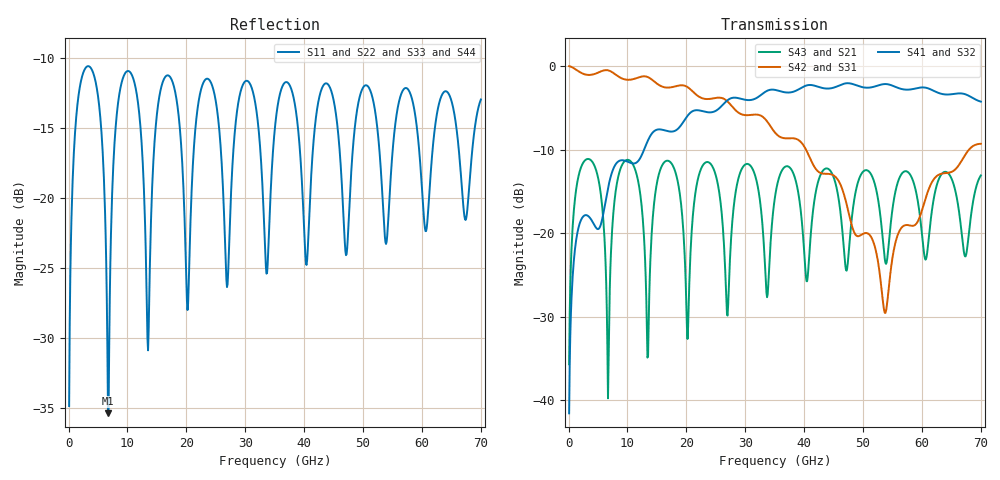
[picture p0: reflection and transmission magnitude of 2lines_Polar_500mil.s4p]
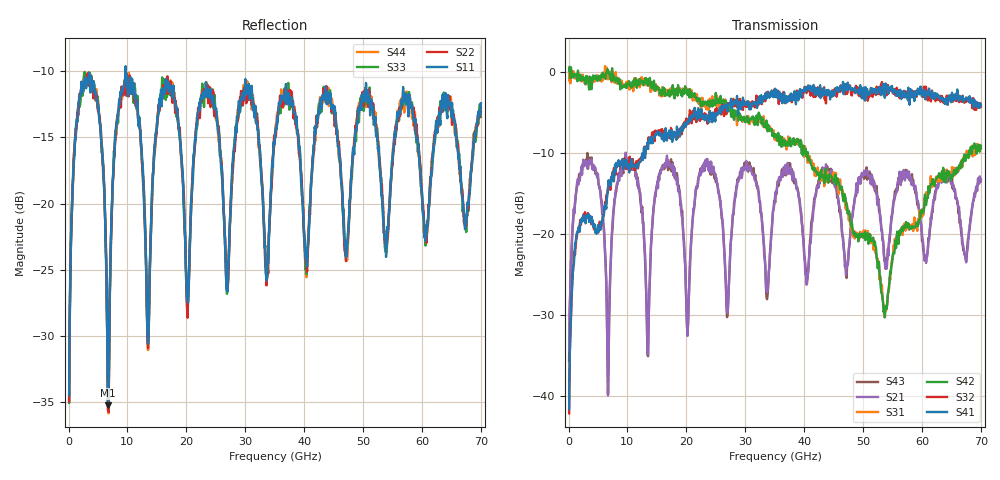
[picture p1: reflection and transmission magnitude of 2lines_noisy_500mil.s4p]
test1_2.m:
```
%% Basic Information
%%% Overview
% Transmission-line parameters extractor
% MATLAB implementation of Patent US8892414B1
% Author Name: Guorui Wei
% Created in: 2020-06-04 00:35
% Example: Edge-Coupled Surface Microstrip 

clc; clear; close all;

%% Import data

% Import simulated data
lineLength = 0.0127; % Line Length(meters)
filename_2line = 'data/2line/2lines_Polar_500mil.s4p';
SingleEnded4PortData = read(rfdata.data,filename_2line);
freq = SingleEnded4PortData.Freq;
freqPts = length(freq);
z0 = SingleEnded4PortData.Z0; % Reference Impedance
numOfLines = size(SingleEnded4PortData.S_Parameters,1)/2;
SingleEnded4PortData.S_Parameters = snp2smp(SingleEnded4PortData.S_Parameters,...
    z0,1:1:2*numOfLines); % Classic style
s_original = SingleEnded4PortData.S_Parameters;

%% Add noise to original S-params

% initialize the random number generator to make the results  repeatable.
rng(0,'twister');

noise_mean = 1;   % mean
noise_std = 0.05; % standard deviation
noise_cof_real = noise_std .* randn(size(s_original)) + noise_mean;
noise_cof_imag = noise_std .* randn(size(s_original)) + noise_mean;
s_noisy = real(s_original) .* noise_cof_real                            ...
        + 1i * imag(s_original) .* noise_cof_imag;
rfwrite(sparameters(s_noisy,freq,z0),'data/2line/2lines_noisy_500mil.s4p');

%%% Load PowerSI extracted noisy-RLGC
% Allocate memory
rlgc_noisy_PowerSI.R = zeros(numOfLines,numOfLines,freqPts);
rlgc_noisy_PowerSI.L = rlgc_noisy_PowerSI.R;
rlgc_noisy_PowerSI.C = rlgc_noisy_PowerSI.R;
rlgc_noisy_PowerSI.G = rlgc_noisy_PowerSI.R;
% Load data
filename_PowerSI = 'data/2line/Transmission_RLGC_noisy.csv';
opts = detectImportOptions(filename_PowerSI);
rlgc_PowerSI_mat = readtable(filename_PowerSI);
for freqIdx = 1:freqPts
    for i = 1:numOfLines
        for j = i:numOfLines
            rlgc_noisy_PowerSI.R(i,j,freqIdx) = rlgc_PowerSI_mat{4*freqIdx-3,(2*numOfLines+2-i)*(i-1)/2+j-i+3}/lineLength;
            rlgc_noisy_PowerSI.L(i,j,freqIdx) = rlgc_PowerSI_mat{4*freqIdx-2,(2*numOfLines+2-i)*(i-1)/2+j-i+3}/lineLength;
            rlgc_noisy_PowerSI.G(i,j,freqIdx) = rlgc_PowerSI_mat{4*freqIdx-1,(2*numOfLines+2-i)*(i-1)/2+j-i+3}/lineLength;
            rlgc_noisy_PowerSI.C(i,j,freqIdx) = rlgc_PowerSI_mat{4*freqIdx-0,(2*numOfLines+2-i)*(i-1)/2+j-i+3}/lineLength;
        end
    end
    % RLGC是对称阵
    for i = 1:numOfLines
        for j = i+1:numOfLines
            rlgc_noisy_PowerSI.R(j,i,freqIdx) = rlgc_noisy_PowerSI.R(i,j,freqIdx);
            rlgc_noisy_PowerSI.L(j,i,freqIdx) = rlgc_noisy_PowerSI.L(i,j,freqIdx);
            rlgc_noisy_PowerSI.G(j,i,freqIdx) = rlgc_noisy_PowerSI.G(i,j,freqIdx);
            rlgc_noisy_PowerSI.C(j,i,freqIdx) = rlgc_noisy_PowerSI.C(i,j,freqIdx);
        end
    end
end

%% Extract RLGC params using proposed method

rlgc_original = s2rlgc_t(s_original,lineLength,freq,z0,[],false);
rlgc_noisy = s2rlgc_t(s_noisy,lineLength,freq,z0,[],false);

%%% Check

% 1. rlgc_noisy -> s_extracted_rlgc -> rlgc'
check_consistence(rlgc_noisy.R, rlgc_noisy.L, rlgc_noisy.G, rlgc_noisy.C, lineLength, freq, z0);
% 2. s_extracted_rlgc -> rlgc' -> s'
[s_extracted_rlgc,~] = rlgc2s_t(rlgc_noisy.R,rlgc_noisy.L,rlgc_noisy.G,rlgc_noisy.C,lineLength,freq,z0);
rlgc_reextract = s2rlgc_t(s_extracted_rlgc,lineLength,freq,z0,[],true);

%% Figure

%% Comparison between noisy-S (dB) and original-S

% external<-external
figure('Name','noisy-S (dB): See') 
sgtitle({'Comparison Between noisy-S and original-S: See'})
num_of_columes = ceil(numOfLines/2);
for idx = 1:numOfLines
    subplot(2,num_of_columes,idx)
    plot(freq/1e9,db(squeeze(s_noisy(1,idx,:)),'voltage'),'k-')
    hold on
    plot(freq/1e9,db(squeeze(s_original(1,idx,:)),'voltage'),'g--')
    hold off
    grid on
    xlabel('Freq(GHz)');
    ylabel(sprintf('S(1,%u)(dB)',idx));
    title(sprintf('S(1,%u)',idx));
    legend({'noisy','original'},'Location','best','NumColumns',1)
    legend('boxoff')
end

% external<-internal
figure('Name','noisy-S (dB): Sei')
sgtitle({'Comparison Between noisy-S and original-S: Sei'})
num_of_columes = ceil(numOfLines/2);
for idx = 1:numOfLines
    subplot(2,num_of_columes,idx)
    plot(freq/1e9,db(squeeze(s_noisy(1,idx+numOfLines,:)),'voltage'),'k-')
    hold on
    plot(freq/1e9,db(squeeze(s_original(1,idx+numOfLines,:)), 'voltage'),'g--')
    hold off
    grid on
    xlabel('Freq(GHz)');
    ylabel(sprintf('S(1,%u)(dB)',idx+numOfLines));
    title(sprintf('S(1,%u)',idx+numOfLines));
    legend({'noisy','original'},'Location','best','NumColumns',1)
    legend('boxoff')
end

% internal<-external
figure('Name','noisy-S (dB): Sie') 
sgtitle({'Comparison Between noisy-S and original-S: Sie'})
num_of_columes = ceil(numOfLines/2);
for idx = 1:numOfLines
    subplot(2,num_of_columes,idx)
    plot(freq/1e9,db(squeeze(s_noisy(numOfLines+1,idx,:)),'voltage'),'k-')
    hold on
    plot(freq/1e9,db(squeeze(s_original(numOfLines+1,idx,:)),'voltage'),'g--')
    hold off
    grid on
    xlabel('Freq(GHz)');
    ylabel(sprintf('S(%u,%u)(dB)',numOfLines+1,idx));
    title(sprintf('S(%u,%u)',numOfLines+1,idx));
    legend({'noisy','original'},'Location','best','NumColumns',1)
    legend('boxoff')
end

% internal<-internal
figure('Name','noisy-S (dB): Sii') 
sgtitle({'Comparison Between noisy-S and original-S: Sii'})
num_of_columes = ceil(numOfLines/2);
for idx = 1:numOfLines
    subplot(2,num_of_columes,idx)
    plot(freq/1e9,db(squeeze(s_noisy(numOfLines+1,numOfLines+idx,:)),'voltage'),'k-')
    hold on
    plot(freq/1e9,db(squeeze(s_original(numOfLines+1,numOfLines+idx,:)),'voltage'),'g--')
    hold off
    grid on
    xlabel('Freq(GHz)');
    ylabel(sprintf('S(%u,%u)(dB)',numOfLines+1,numOfLines+idx));
    title(sprintf('S(%u,%u)',numOfLines+1,numOfLines+idx));
    legend({'noisy','original'},'Location','best','NumColumns',1)
    legend('boxoff')
end

%% Comparison between noisy-S (phase) and original-S

% external<-external
figure('Name','noisy-S (phase): See') 
sgtitle({'Comparison Between noisy-S and original-S: See'})
num_of_columes = ceil(numOfLines/2);
for idx = 1:numOfLines
    subplot(2,num_of_columes,idx)
    plot(freq/1e9,angle(squeeze(s_noisy(1,idx,:))),'k-')
    hold on
    plot(freq/1e9,angle(squeeze(s_original(1,idx,:))),'g--')
    hold off
    grid on
    xlabel('Freq(GHz)');
    ylabel(sprintf('S(1,%u) (rad)',idx));
    title(sprintf('S(1,%u)',idx));
    legend({'noisy','original'},'Location','best','NumColumns',1)
    legend('boxoff')
end

% external<-internal
figure('Name','noisy-S (phase): Sei')
sgtitle({'Comparison Between noisy-S and original-S: Sei'})
num_of_columes = ceil(numOfLines/2);
for idx = 1:numOfLines
    subplot(2,num_of_columes,idx)
    plot(freq/1e9,angle(squeeze(s_noisy(1,idx+numOfLines,:))),'k-')
    hold on
    plot(freq/1e9,angle(squeeze(s_original(1,idx+numOfLines,:))),'g--')
    hold off
    grid on
    xlabel('Freq(GHz)');
    ylabel(sprintf('S(1,%u) (rad)',idx+numOfLines));
    title(sprintf('S(1,%u)',idx+numOfLines));
    legend({'noisy','original'},'Location','best','NumColumns',1)
    legend('boxoff')
end

% internal<-external
figure('Name','noisy-S (phase): Sie') 
sgtitle({'Comparison Between noisy-S and original-S: Sie'})
num_of_columes = ceil(numOfLines/2);
for idx = 1:numOfLines
    subplot(2,num_of_columes,idx)
    plot(freq/1e9,angle(squeeze(s_noisy(numOfLines+1,idx,:))),'k-')
    hold on
    plot(freq/1e9,angle(squeeze(s_original(numOfLines+1,idx,:))),'g--')
    hold off
    grid on
    xlabel('Freq(GHz)');
    ylabel(sprintf('S(%u,%u) (rad)',numOfLines+1,idx));
    title(sprintf('S(%u,%u)',numOfLines+1,idx));
    legend({'noisy','original'},'Location','best','NumColumns',1)
    legend('boxoff')
end

% internal<-internal
figure('Name','noisy-S (phase): Sii') 
sgtitle({'Comparison Between noisy-S and original-S: Sii'})
num_of_columes = ceil(numOfLines/2);
for idx = 1:numOfLines
    subplot(2,num_of_columes,idx)
    plot(freq/1e9,angle(squeeze(s_noisy(numOfLines+1,numOfLines+idx,:))),'k-')
    hold on
    plot(freq/1e9,angle(squeeze(s_original(numOfLines+1,numOfLines+idx,:))),'g--')
    hold off
    grid on
    xlabel('Freq(GHz)');
    ylabel(sprintf('S(%u,%u) (rad)',numOfLines+1,numOfLines+idx));
    title(sprintf('S(%u,%u)',numOfLines+1,numOfLines+idx));
    legend({'noisy','original'},'Location','best','NumColumns',1)
    legend('boxoff')
end

%% Reconstruct noisy S using powerSI-noisy RLGC
% 结论：与原始S参数高度一致。用重建S参数再提取RLGC，此RLGC可以准确恢复重建S参数。
% 说明PowerSI是对原始S参数作了前处理

[s_rlgc_noisy_PowerSI,~] = rlgc2s_t(rlgc_noisy_PowerSI.R,rlgc_noisy_PowerSI.L,rlgc_noisy_PowerSI.G,rlgc_noisy_PowerSI.C,lineLength,freq,z0);
% external<-external
figure('Name','Rebuilt S (using PowerSI-RLGC): See') 
sgtitle({'Comparison Between Calculated S-parameters using';'PowerSI-RLGC and Original S-parameters: See'})
num_of_columes = ceil(numOfLines/2);
for idx = 1:numOfLines
    subplot(2,num_of_columes,idx)
    plot(freq/1e9,db(squeeze(s_rlgc_noisy_PowerSI(1,idx,:)),'voltage'),'k-')
    hold on
    plot(freq/1e9,db(squeeze(s_noisy(1,idx,:)),'voltage'),'g--')
    hold off
    grid on
    xlabel('Freq(GHz)');
    ylabel(sprintf('S1%u(Ohms/m)',idx));
    title(sprintf('S1%u',idx));
    legend({'PowerSI-RLGC','Original S-parameters'},'Location','best','NumColumns',1)
    legend('boxoff')
end

% external<-internal
figure('Name','Rebuilt S (using PowerSI-RLGC): Sei')
sgtitle({'Comparison Between Calculated S-parameters using';'PowerSI-RLGC and Original S-parameters: Sei'})
num_of_columes = ceil(numOfLines/2);
for idx = 1:numOfLines
    subplot(2,num_of_columes,idx)
    plot(freq/1e9,db(squeeze(s_rlgc_noisy_PowerSI(1,idx+numOfLines,:)),'voltage'),'k-')
    hold on
    plot(freq/1e9,db(squeeze(s_noisy(1,idx+numOfLines,:)), 'voltage'),'g--')
    hold off
    grid on
    xlabel('Freq(GHz)');
    ylabel(sprintf('S1%u(dB)',idx+numOfLines));
    title(sprintf('S1%u',idx+numOfLines));
    legend({'PowerSI-RLGC','Original S-parameters'},'Location','best','NumColumns',1)
    legend('boxoff')
end

% internal<-external
figure('Name','Rebuilt S (using PowerSI-RLGC): Sie') 
sgtitle({'Comparison Between Calculated S-parameters using';'PowerSI-RLGC and Original S-parameters: Sie'})
num_of_columes = ceil(numOfLines/2);
for idx = 1:numOfLines
    subplot(2,num_of_columes,idx)
    plot(freq/1e9,db(squeeze(s_rlgc_noisy_PowerSI(numOfLines+1,idx,:)),'voltage'),'k-')
    hold on
    plot(freq/1e9,db(squeeze(s_noisy(numOfLines+1,idx,:)),'voltage'),'g--')
    hold off
    grid on
    xlabel('Freq(GHz)');
    ylabel(sprintf('S%u%u(Ohms/m)',numOfLines+1,idx));
    title(sprintf('S%u%u',numOfLines+1,idx));
    legend({'PowerSI-RLGC','Original S-parameters'},'Location','best','NumColumns',1)
    legend('boxoff')
end

% internal<-internal
figure('Name','Rebuilt S (using PowerSI-RLGC): Sii') 
sgtitle({'Comparison Between Calculated S-parameters using';'PowerSI-RLGC and Original S-parameters: Sii'})
num_of_columes = ceil(numOfLines/2);
for idx = 1:numOfLines
    subplot(2,num_of_columes,idx)
    plot(freq/1e9,db(squeeze(s_rlgc_noisy_PowerSI(numOfLines+1,numOfLines+idx,:)),'voltage'),'k-')
    hold on
    plot(freq/1e9,db(squeeze(s_noisy(numOfLines+1,numOfLines+idx,:)),'voltage'),'g--')
    hold off
    grid on
    xlabel('Freq(GHz)');
    ylabel(sprintf('S%u%u(Ohms/m)',numOfLines+1,numOfLines+idx));
    title(sprintf('S%u%u',numOfLines+1,numOfLines+idx));
    legend({'PowerSI-RLGC','Original S-parameters'},'Location','best','NumColumns',1)
    legend('boxoff')
end
```
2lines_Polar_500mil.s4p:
! www.PolarInstruments.com
! File Export V10.11 [9.03]
! For hxji@mail.xidian.edu.cn;QQ=47399897
! File : D:\SJTU\Bachelor\thesis\Multi-line\transmission-line-params-extractor\data\2line\2line_Polar_500mil.s4p
! Polar  PCB Transmission Line Field Solver  v11.04.00
# MHz S DB R 50.00
! Line Length = 0.013m ( 0.50 inch )
!  PORT NUMBERING (Classic style)
!  PORT#  PORT#
!  Z1 = Z2 = 50.00  Z3 = Z4 = 50.00
!  1 --|  |-- 3
!  2 --|  |-- 4
! FREQ MHz  S11  S12  S13  S14
!  S21  S22  S23  S24
!  S31  S32  S33  S34
!  S41  S42  S43  S44
!  DB  ANG  DB  ANG  DB  ANG  DB  ANG
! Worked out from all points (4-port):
!   700 points, 100 MHz to 70 GHz, reference 50 ohm
!   strongest paths, dB at 100 MHz, 17.6 GHz, 35.1 GHz, 52.6 GHz, 70 GHz:
!     S41: -41.6, -7.8, -2.9, -2.3, -4.3
!     S32: -41.6, -7.8, -2.9, -2.3, -4.3
!     S42: 0.0, -2.5, -8.0, -23.7, -9.3
!     S31: 0.0, -2.5, -8.0, -23.7, -9.3
!     S43: -35.7, -11.8, -15.4, -16.2, -13.1
!     S21: -35.7, -11.8, -15.4, -16.2, -13.1
!   lowest |S11| = -35.4 dB at 6.7 GHz (marker M1), VSWR 1.03, Z = 51.5 - j0.771 ohm
!   |S11| at or under -10 dB: start of sweep to end of sweep
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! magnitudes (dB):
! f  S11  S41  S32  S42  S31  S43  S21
! 100 MHz  -34.9  -41.6  -41.6  0.0  0.0  -35.7  -35.7
! 6.7 GHz  -35.4  -14.6  -14.6  -0.5  -0.5  -39.8  -39.8
! 70 GHz  -12.9  -4.3  -4.3  -9.3  -9.3  -13.1  -13.1
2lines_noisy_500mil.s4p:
# GHz S RI R 50
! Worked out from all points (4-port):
!   700 points, 100 MHz to 70 GHz, reference 50 ohm
!   strongest paths, dB at 100 MHz, 17.6 GHz, 35.1 GHz, 52.6 GHz, 70 GHz:
!     S41: -41.6, -8.6, -2.1, -2.4, -4.1
!     S32: -42.1, -7.9, -2.3, -2.0, -4.3
!     S42: 0.1, -2.2, -7.7, -23.4, -9.4
!     S31: -1.1, -2.3, -8.1, -23.5, -9.2
!     S21: -35.5, -11.7, -14.8, -16.5, -13.4
!     S43: -35.7, -11.1, -16.1, -15.6, -13.3
!   lowest |S11| = -35.2 dB at 6.7 GHz (marker M1), VSWR 1.04, Z = 51.6 - j0.78 ohm
!   |S11| at or under -10 dB: start of sweep to 9.659 GHz; 9.735 GHz to end of sweep
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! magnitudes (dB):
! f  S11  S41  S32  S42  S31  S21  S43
! 100 MHz  -34.5  -41.6  -42.1  0.1  -1.1  -35.5  -35.7
! 6.7 GHz  -35.2  -14.5  -14.2  -0.1  -0.9  -39.9  -39.8
! 70 GHz  -12.4  -4.1  -4.3  -9.4  -9.2  -13.4  -13.3
